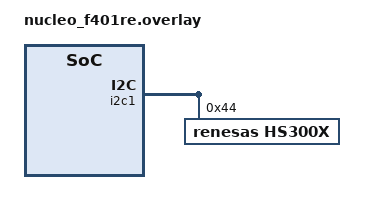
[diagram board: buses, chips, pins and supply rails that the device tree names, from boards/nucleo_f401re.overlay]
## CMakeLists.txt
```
# Copyright (c) 2023 Ian Morris
# SPDX-License-Identifier: Apache-2.0

cmake_minimum_required(VERSION 3.28.0)
find_package(Zephyr REQUIRED HINTS $ENV{ZEPHYR_BASE})
project(dht_polling)

FILE(GLOB app_sources src/*.c)
target_sources(app PRIVATE ${app_sources})
```

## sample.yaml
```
#
# Copyright (c) 2023 Ian Morris
#
# SPDX-License-Identifier: Apache-2.0
#

sample:
  description: Digital Humidity Temperature polling sample
  name: DHT polling sample
tests:
  sample.sensor.dht_polling:
    tags: sensors
    filter: dt_alias_exists("dht0")
    integration_platforms:
      - nucleo_f401re
    platform_allow:
      - adafruit_qt_py_rp2040/rp2040
      - adafruit_feather_rp2040/rp2040
      - adafruit_feather_canbus_rp2040/rp2040
      - nucleo_f401re
    extra_args:
      - platform:adafruit_qt_py_rp2040/rp2040:SHIELD="adafruit_aht20"
      - platform:adafruit_feather_rp2040/rp2040:SHIELD="adafruit_sht4x"
      - platform:adafruit_feather_canbus_rp2040/rp2040:SHIELD="sparkfun_shtc3"
    harness: console
    harness_config:
      fixture: fixture_i2c_hs300x
      type: one_line
      regex:
        - "[0-9A-Za-z_,+-.]*@[0-9A-Fa-f]*: temp is (.*) °C humidity is (.*) %RH"
```

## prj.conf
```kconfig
CONFIG_STDOUT_CONSOLE=y
CONFIG_SENSOR=y
CONFIG_SENSOR_ASYNC_API=y
```

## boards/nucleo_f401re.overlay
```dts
/*
 * Copyright (c) 2023 Ian Morris
 *
 * SPDX-License-Identifier: Apache-2.0
 */

/ {
	aliases {
		dht0 = &hs300x;
	};
};

&i2c1 {
	status = "okay";

	hs300x: hs300x@44 {
		compatible = "renesas,hs300x";
		reg = <0x44>;
		#address-cells = <1>;
		#size-cells = <0>;
	};
};
```

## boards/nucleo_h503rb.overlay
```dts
/*
 * Copyright (c) 2024 STMicroelectronics
 *
 * SPDX-License-Identifier: Apache-2.0
 */
#include <zephyr/dt-bindings/sensor/lsm6dsv16x.h>


/*
 * Nucleo F401RE board + shield iks4a1
 *
 * This devicetree overlay file will be automatically picked by the Zephyr
 * build system when building the sample for the nucleo_f401re board.
 */

/ {
	aliases {
		accel0 = &lsm6dsv16x_6b_x_nucleo_iks4a1;
	};
};

&arduino_i2c {
	lsm6dsv16x_6b_x_nucleo_iks4a1: lsm6dsv16x@6b {
		compatible = "st,lsm6dsv16x";

		reg = <0x6b>;
		accel-odr = <LSM6DSV16X_DT_ODR_AT_480Hz>;
		accel-range = <LSM6DSV16X_DT_FS_16G>;
		gyro-odr = <LSM6DSV16X_DT_ODR_AT_480Hz>;
		gyro-range = <LSM6DSV16X_DT_FS_500DPS>;

		int2-gpios =  <&arduino_header 10 GPIO_ACTIVE_HIGH>; /* D4 (PB5) */
		drdy-pin = <2>;
		drdy-pulsed;
	};
};
```

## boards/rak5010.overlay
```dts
/*
 * Copyright (c) 2026 Abdulrahman Aminu
 *
 * SPDX-License-Identifier: Apache-2.0
 */

/ {
	aliases {
		dht0 = &shtc3;
	};
};
```

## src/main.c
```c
/*
 * Copyright (c) 2023 Ian Morris
 *
 * SPDX-License-Identifier: Apache-2.0
 */

#include <stdio.h>
#include <stdlib.h>

#include <zephyr/device.h>
#include <zephyr/sys/util_macro.h>
#include <zephyr/kernel.h>
#include <zephyr/drivers/sensor.h>
#include <zephyr/drivers/sensor_data_types.h>
#include <zephyr/rtio/rtio.h>
#include <zephyr/dsp/print_format.h>

#define DHT_ALIAS(i) DT_ALIAS(_CONCAT(dht, i))
#define DHT_DEVICE(i, _)                                                      \
	IF_ENABLED(DT_NODE_EXISTS(DHT_ALIAS(i)), (DEVICE_DT_GET(DHT_ALIAS(i)),))

/* Support up to 10 temperature/humidity sensors */
static const struct device *const sensors[] = {LISTIFY(10, DHT_DEVICE, ())};

#define DHT_IODEV(i, _)                                                      \
	IF_ENABLED(DT_NODE_EXISTS(DHT_ALIAS(i)),                                 \
		(SENSOR_DT_READ_IODEV(_CONCAT(dht_iodev, i), DHT_ALIAS(i),           \
		{SENSOR_CHAN_AMBIENT_TEMP, 0},                                       \
		{SENSOR_CHAN_HUMIDITY, 0})))

LISTIFY(10, DHT_IODEV, (;));

#define DHT_IODEV_REF(i, _)                                                   \
	IF_ENABLED(DT_NODE_EXISTS(DHT_ALIAS(i)), (CONCAT(&dht_iodev, i),))

static struct rtio_iodev *dht_iodev[] = {LISTIFY(10, DHT_IODEV_REF, ())};

RTIO_DEFINE(dht_ctx, 1, 1);

int main(void)
{
	int rc;

	for (size_t i = 0; i < ARRAY_SIZE(sensors); i++) {
		if (!device_is_ready(sensors[i])) {
			printk("sensor: device %s not ready.\n", sensors[i]->name);
			return 0;
		}
	}

	while (1) {
		for (size_t i = 0; i < ARRAY_SIZE(sensors); i++) {
			const struct device *dev = sensors[i];

			uint8_t buf[128];

			rc = sensor_read(dht_iodev[i], &dht_ctx, buf, 128);

			if (rc != 0) {
				printk("%s: sensor_read() failed: %d\n", dev->name, rc);
				return rc;
			}

			const struct sensor_decoder_api *decoder;

			rc = sensor_get_decoder(dev, &decoder);

			if (rc != 0) {
				printk("%s: sensor_get_decode() failed: %d\n", dev->name, rc);
				return rc;
			}

			uint32_t temp_fit = 0;
			struct sensor_q31_data temp_data = {0};

			rc = decoder->decode(buf,
					     (struct sensor_chan_spec){SENSOR_CHAN_AMBIENT_TEMP, 0},
					     &temp_fit, 1, &temp_data);

			if (rc != 1) {
				printk("%s: temperature decode failed: %d\n", dev->name, rc);
				return rc;
			}

			uint32_t hum_fit = 0;
			struct sensor_q31_data hum_data = {0};

			rc = decoder->decode(buf,
					     (struct sensor_chan_spec){SENSOR_CHAN_HUMIDITY, 0},
					     &hum_fit, 1, &hum_data);

			if (rc != 1) {
				printk("%s: humidity decode failed: %d\n", dev->name, rc);
				return rc;
			}

			printk("%16s: temp is %" PRIq(2) " °C humidity is %" PRIq(2) " %%RH\n",
			       dev->name,
			       PRIq_arg(temp_data.readings[0].temperature, 2, temp_data.shift),
			       PRIq_arg(hum_data.readings[0].humidity, 2, hum_data.shift));
		}
		k_msleep(1000);
	}
	return 0;
}
```
